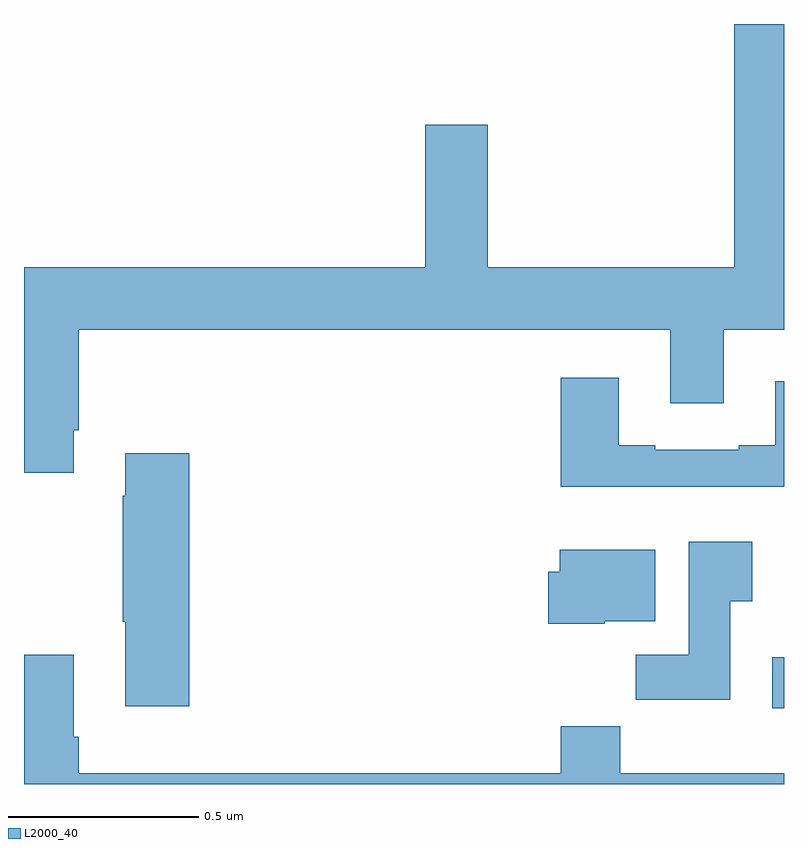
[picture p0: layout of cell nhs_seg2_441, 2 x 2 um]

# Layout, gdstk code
import gdstk
lib = gdstk.Library(unit=1e-6, precision=1e-09)
def R(c, l, rs):  # rectangles x0, y0, x1, y1
    for r in rs: c.add(gdstk.rectangle(r[:2], r[2:], *l))
def P(c, l, *ps):  # polygons
    for p in ps: c.add(gdstk.Polygon(p, *l))
L2000_40 = (2000, 40)

nhs_seg2_441 = lib.new_cell('nhs_seg2_441')
R(nhs_seg2_441, L2000_40, [(117.969,620,118,620.134)])
P(nhs_seg2_441, L2000_40, [(116.131,620.731),(116.144,620.731),(116.144,620.996),(117.701,620.996),(117.701,620.802),(117.841,620.802),(117.841,620.996),(118,620.996),(118,621.8),(117.869,621.8),(117.869,621.16),(117.22,621.16),(117.22,621.535),(117.056,621.535),(117.056,621.16),(116,621.16),(116,620.619),(116.131,620.619)],
  [(118,620.86),(117.977,620.86),(117.977,620.692),(117.881,620.692),(117.881,620.679),(117.661,620.679),(117.661,620.692),(117.565,620.692),(117.565,620.869),(117.413,620.869),(117.413,620.582),(118,620.582)],
  [(116.435,620.671),(116.267,620.671),(116.267,620.558),(116.26,620.558),(116.26,620.227),(116.267,620.227),(116.267,620.004),(116.435,620.004)],
  [(117.859,620.281),(117.916,620.281),(117.916,620.437),(117.749,620.437),(117.749,620.14),(117.61,620.14),(117.61,620.022),(117.859,620.022)],
  [(117.528,620.228),(117.661,620.228),(117.661,620.416),(117.41,620.416),(117.41,620.358),(117.38,620.358),(117.38,620.222),(117.528,620.222)],
  [(118,619.828),(117.569,619.828),(117.569,619.952),(117.413,619.952),(117.413,619.828),(116.144,619.828),(116.144,619.924),(116.131,619.924),(116.131,620.14),(116,620.14),(116,619.8),(118,619.8)])

lib.write_gds('nhs_seg2_441.gds')
